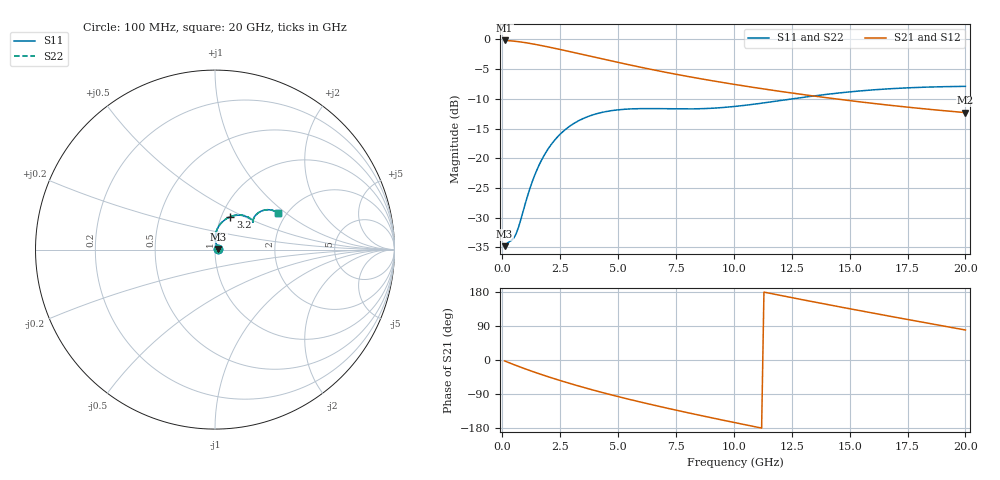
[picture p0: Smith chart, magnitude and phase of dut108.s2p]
! Touchstone file exported from HFSS 2023.1.0
!  File:  D:/Users/fzz/RDL_TSV/temp_RDL_TSV_108_1778749590.aedt
!  Generated:  5:17:43 %x4E0B%x5348  5%x6708 14, 2026
!  Design:  RDL_TSV
!  Project:  temp_RDL_TSV_108_1778749590
!  Setup:  Setup1
!  Solution:  Sweep
! Variables:
!  dtsv = 17.66um
!  hbump = 3um
!  htsv = 50.71um
!  ldown = 562.39um
!  lrdl = 675.2um
!  p = 40
!  p1 = 52.67um
!  rhole = 10um
!  subl = 4387.97um
!  t = 450um
!  tdown = 4.54um
!  trdl = 4.74um
!  viad = 10um
!  wdown = 28.69um
!  wrdl = 15.51um
!  xbump = 18um
# GHz S MA R 50.000000
! Terminal data exported
! Port[1] = TM1_1_T1
! Port[2] = TM1_4_T1
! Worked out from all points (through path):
!   200 points, 100 MHz to 20 GHz, reference 50 ohm
!   highest |S21| = -0.16 dB at 100 MHz (marker M1); lowest = -12.3 dB at 20 GHz (marker M2)
!   group delay of S21, straight-line fit = 37 ps
!   lowest |S11| = -34.8 dB at 100 MHz (marker M3), VSWR 1.04, Z = 51.8 + j0.373 ohm
!   |S11| at or under -10 dB: start of sweep to 12.53 GHz
!   |S22| runs from -34.8 to -7.8 dB; largest |S21 - S12| = 2.1e-13
!   S11 on the Smith chart (normalised r, x): 100 MHz: 1.04, +0.01; 3.2 GHz: 1.10, +0.42; 20 GHz: 1.80, +0.87
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0.1  0.01813 11.5  0.9815 -2.5  0.9815 -2.5  0.01813 11.5
! Gamma 0 0 0 0
! Port Impedance 50 0 50 0
0.5  0.02128 47.2  0.9686 -12.2  0.9686 -12.2  0.02126 47.4
0.6  0.02314 57.7  0.9639 -14.5  0.9639 -14.5  0.02314 57.9
1.3  0.06382 88.9  0.919 -30.2  0.919 -30.2  0.06411 89.1
1.5  0.08005 88.4  0.9038 -34.4  0.9038 -34.4  0.08043 88.6
1.8  0.105 85.4  0.8802 -40.6  0.8802 -40.6  0.1055 85.6
2.4  0.1521 76.7  0.8319 -52.3  0.8319 -52.3  0.1529 76.9
3.2  0.2019 64.8  0.7687 -67.0  0.7687 -67.0  0.2031 65.0
3.5  0.2161 60.8  0.7457 -72.2  0.7457 -72.2  0.2174 61.0
4.2  0.2404 52.7  0.6947 -83.9  0.6947 -83.9  0.242 52.8
5.1  0.2566 44.7  0.635 -98.1  0.635 -98.1  0.2585 44.8
5.9  0.2614 39.8  0.5878 -110.0  0.5878 -110.0  0.2635 39.9
6.8  0.2612 36.7  0.5413 -122.7  0.5413 -122.7  0.2635 36.8
7.6  0.26 35.8  0.505 -133.7  0.505 -133.7  0.2623 35.8
8.4  0.2605 36.2  0.473 -144.3  0.473 -144.3  0.2628 36.1
10.1  0.2736 38.7  0.416 -166.0  0.416 -166.0  0.2757 38.6
11.8  0.3018 40.4  0.3703 173.0  0.3703 173.0  0.3037 40.3
13.4  0.3334 39.8  0.335 153.9  0.335 153.9  0.3353 39.7
15  0.3619 37.8  0.3055 135.3  0.3055 135.3  0.3638 37.7
16.7  0.3842 34.9  0.2796 115.9  0.2796 115.9  0.3862 34.8
18.3  0.3967 32.2  0.2595 98.0  0.2595 98.0  0.3989 32.2
20  0.403 30.1  0.242 79.2  0.242 79.2  0.4052 30.1
